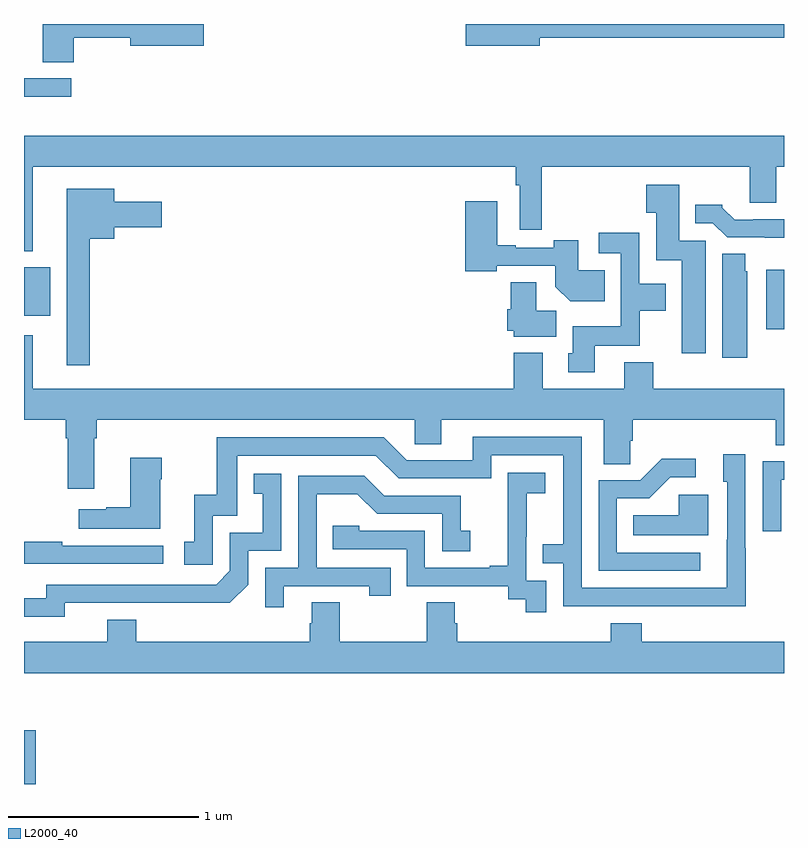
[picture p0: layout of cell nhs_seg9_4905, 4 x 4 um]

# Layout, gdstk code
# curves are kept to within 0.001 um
import gdstk
lib = gdstk.Library(unit=1e-6, precision=1e-09)
def R(c, l, rs):  # rectangles x0, y0, x1, y1
    for r in rs: c.add(gdstk.rectangle(r[:2], r[2:], *l))
def P(c, l, *ps):  # polygons
    for p in ps: c.add(gdstk.Polygon(p, *l))
L2000_40 = (2000, 40)

nhs_seg9_4905 = lib.new_cell('nhs_seg9_4905')
R(nhs_seg9_4905, L2000_40, [(395,1198.5,395.063,1198.783), (398.906,1200.893,399,1201.207), (395,1200.965,395.137,1201.219), (395,1202.118,395.248,1202.214)])
P(nhs_seg9_4905, L2000_40, [(395.262,1202.428),(395.558,1202.428),(395.558,1202.386),(395.947,1202.386),(395.947,1202.5),(395.099,1202.5),(395.099,1202.299),(395.262,1202.299)],
  [(397.714,1202.428),(399,1202.428),(399,1202.5),(397.326,1202.5),(397.326,1202.386),(397.714,1202.386)],
  [(395,1201.304),(395.047,1201.304),(395.047,1201.748),(397.588,1201.748),(397.588,1201.652),(397.608,1201.652),(397.608,1201.416),(397.724,1201.416),(397.724,1201.748),(398.819,1201.748),(398.819,1201.558),(398.959,1201.558),(398.959,1201.748),(399,1201.748),(399,1201.912),(395,1201.912)],
  [(398.587,1201.359),(398.449,1201.359),(398.449,1201.654),(398.276,1201.654),(398.276,1201.507),(398.327,1201.507),(398.327,1201.256),(398.462,1201.256),(398.462,1200.768),(398.587,1200.768)],
  [(395.347,1201.37),(395.476,1201.37),(395.476,1201.43),(395.725,1201.43),(395.725,1201.564),(395.476,1201.564),(395.476,1201.633),(395.225,1201.633),(395.225,1200.705),(395.347,1200.705)],
  [(398.057,1201.204),(397.918,1201.204),(397.918,1201.362),(397.789,1201.362),(397.789,1201.323),(397.588,1201.323),(397.588,1201.336),(397.492,1201.336),(397.492,1201.567),(397.322,1201.567),(397.322,1201.199),(397.488,1201.199),(397.488,1201.227),(397.796,1201.227),(397.796,1201.118),(397.874,1201.04),(398.057,1201.04)],
  [(399,1201.473),(398.839,1201.473),(398.839,1201.47),(398.74,1201.47),(398.676,1201.534),(398.676,1201.549),(398.534,1201.549),(398.534,1201.452),(398.625,1201.452),(398.7,1201.377),(399,1201.376)],
  [(398.005,1200.806),(398.241,1200.806),(398.241,1200.992),(398.377,1200.992),(398.377,1201.132),(398.238,1201.132),(398.238,1201.402),(398.025,1201.402),(398.025,1201.293),(398.142,1201.293),(398.142,1200.91),(397.889,1200.91),(397.889,1200.768),(397.865,1200.768),(397.865,1200.666),(398.005,1200.666)],
  [(398.806,1201.2),(398.797,1201.2),(398.797,1201.292),(398.675,1201.292),(398.675,1200.744),(398.806,1200.744)],
  [(397.801,1200.992),(397.696,1200.992),(397.696,1201.141),(397.562,1201.141),(397.562,1200.999),(397.544,1200.999),(397.544,1200.885),(397.578,1200.885),(397.578,1200.854),(397.801,1200.854)],
  [(395.047,1200.862),(395,1200.862),(395,1200.416),(395.219,1200.416),(395.219,1200.32),(395.231,1200.32),(395.231,1200.054),(395.371,1200.054),(395.371,1200.32),(395.384,1200.32),(395.384,1200.416),(397.056,1200.416),(397.056,1200.289),(397.195,1200.289),(397.195,1200.416),(398.051,1200.416),(398.051,1200.184),(398.19,1200.184),(398.19,1200.307),(398.204,1200.307),(398.204,1200.416),(398.957,1200.416),(398.957,1200.283),(399,1200.283),(399,1200.58),(398.312,1200.58),(398.312,1200.721),(398.159,1200.721),(398.159,1200.58),(397.729,1200.58),(397.729,1200.769),(397.577,1200.769),(397.577,1200.58),(395.047,1200.58)],
  [(398.799,1199.741),(398.796,1199.741),(398.796,1200.235),(398.681,1200.235),(398.681,1200.09),(398.7,1200.09),(398.699,1199.532),(397.935,1199.532),(397.935,1200.327),(397.361,1200.327),(397.361,1200.204),(397.014,1200.204),(396.894,1200.324),(396.015,1200.324),(396.015,1200.022),(395.897,1200.022),(395.897,1199.775),(395.844,1199.775),(395.844,1199.655),(395.994,1199.655),(395.994,1199.913),(396.123,1199.913),(396.123,1200.228),(396.852,1200.228),(396.972,1200.108),(397.458,1200.108),(397.458,1200.231),(397.839,1200.231),(397.839,1199.762),(397.729,1199.762),(397.729,1199.661),(397.839,1199.661),(397.839,1199.436),(398.799,1199.435)],
  [(395.716,1200.104),(395.724,1200.104),(395.724,1200.217),(395.558,1200.217),(395.558,1199.957),(395.432,1199.957),(395.432,1199.947),(395.289,1199.947),(395.289,1199.843),(395.716,1199.843)],
  [(398.56,1199.718),(398.121,1199.718),(398.121,1200.003),(398.29,1200.003),(398.401,1200.114),(398.536,1200.114),(398.536,1200.212),(398.357,1200.212),(398.244,1200.099),(398.025,1200.099),(398.025,1199.622),(398.56,1199.622)],
  [(398.985,1200.102),(399,1200.102),(399,1200.198),(398.889,1200.198),(398.889,1199.829),(398.985,1199.829)],
  [(397.749,1199.571),(397.644,1199.571),(397.644,1199.801),(397.646,1199.801),(397.646,1200.029),(397.744,1200.029),(397.744,1200.139),(397.546,1200.139),(397.546,1199.933),(397.547,1199.933),(397.547,1199.65),(397.451,1199.65),(397.451,1199.637),(397.11,1199.637),(397.11,1199.832),(396.765,1199.832),(396.765,1199.859),(396.625,1199.859),(396.625,1199.736),(397.014,1199.736),(397.014,1199.541),(397.548,1199.541),(397.548,1199.473),(397.641,1199.473),(397.641,1199.403),(397.749,1199.403)],
  [(395.214,1199.454),(396.082,1199.453),(396.18,1199.55),(396.18,1199.727),(396.354,1199.727),(396.354,1200.133),(396.208,1200.133),(396.208,1200.027),(396.257,1200.027),(396.257,1199.823),(396.084,1199.823),(396.084,1199.622),(396.012,1199.55),(395.118,1199.55),(395.118,1199.478),(395,1199.478),(395,1199.381),(395.214,1199.381)],
  [(396.367,1199.541),(396.818,1199.541),(396.818,1199.49),(396.929,1199.49),(396.929,1199.637),(396.54,1199.637),(396.54,1200.026),(396.754,1200.026),(396.858,1199.922),(397.2,1199.922),(397.2,1199.724),(397.348,1199.724),(397.348,1199.833),(397.299,1199.833),(397.299,1200.018),(396.895,1200.018),(396.79,1200.123),(396.444,1200.123),(396.444,1199.637),(396.27,1199.637),(396.27,1199.43),(396.367,1199.43)],
  [(398.602,1200.022),(398.445,1200.022),(398.445,1199.914),(398.206,1199.914),(398.206,1199.81),(398.602,1199.81)],
  [(395.734,1199.754),(395.201,1199.754),(395.201,1199.774),(395,1199.774),(395,1199.658),(395.734,1199.658)],
  [(399,1199.248),(398.252,1199.248),(398.252,1199.347),(398.087,1199.347),(398.087,1199.248),(397.28,1199.248),(397.28,1199.346),(397.267,1199.346),(397.267,1199.456),(397.12,1199.456),(397.12,1199.248),(396.663,1199.248),(396.663,1199.456),(396.515,1199.456),(396.515,1199.346),(396.503,1199.346),(396.503,1199.248),(395.591,1199.248),(395.591,1199.365),(395.438,1199.365),(395.438,1199.248),(395,1199.248),(395,1199.084),(399,1199.084)])

lib.write_gds('nhs_seg9_4905.gds')
